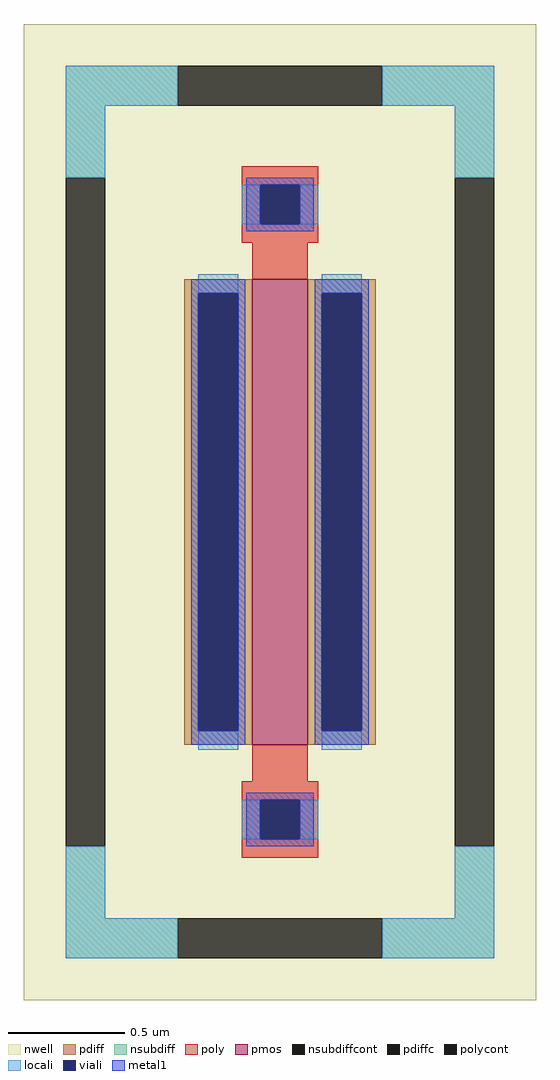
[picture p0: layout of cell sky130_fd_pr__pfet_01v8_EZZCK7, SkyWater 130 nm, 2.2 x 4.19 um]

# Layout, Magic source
magic
tech sky130A
magscale 1 2
<< nwell >>
rect -220 -419 220 419
<< pmos >>
rect -24 -200 24 200
<< pdiff >>
rect -82 188 -24 200
rect -82 -188 -70 188
rect -36 -188 -24 188
rect -82 -200 -24 -188
rect 24 188 82 200
rect 24 -188 36 188
rect 70 -188 82 188
rect 24 -200 82 -188
<< pdiffc >>
rect -70 -188 -36 188
rect 36 -188 70 188
<< nsubdiff >>
rect -184 349 -88 383
rect 88 349 184 383
rect -184 287 -150 349
rect 150 287 184 349
rect -184 -349 -150 -287
rect 150 -349 184 -287
rect -184 -383 -88 -349
rect 88 -383 184 -349
<< nsubdiffcont >>
rect -88 349 88 383
rect -184 -287 -150 287
rect 150 -287 184 287
rect -88 -383 88 -349
<< poly >>
rect -33 281 33 297
rect -33 247 -17 281
rect 17 247 33 281
rect -33 231 33 247
rect -24 200 24 231
rect -24 -231 24 -200
rect -33 -247 33 -231
rect -33 -281 -17 -247
rect 17 -281 33 -247
rect -33 -297 33 -281
<< polycont >>
rect -17 247 17 281
rect -17 -281 17 -247
<< locali >>
rect -184 349 -88 383
rect 88 349 184 383
rect -184 287 -150 349
rect 150 287 184 349
rect -33 247 -17 281
rect 17 247 33 281
rect -70 188 -36 204
rect -70 -204 -36 -188
rect 36 188 70 204
rect 36 -204 70 -188
rect -33 -281 -17 -247
rect 17 -281 33 -247
rect -184 -349 -150 -287
rect 150 -349 184 -287
rect -184 -383 -88 -349
rect 88 -383 184 -349
<< viali >>
rect -17 247 17 281
rect -70 -188 -36 188
rect 36 -188 70 188
rect -17 -281 17 -247
<< metal1 >>
rect -29 281 29 287
rect -29 247 -17 281
rect 17 247 29 281
rect -29 241 29 247
rect -76 188 -30 200
rect -76 -188 -70 188
rect -36 -188 -30 188
rect -76 -200 -30 -188
rect 30 188 76 200
rect 30 -188 36 188
rect 70 -188 76 188
rect 30 -200 76 -188
rect -29 -247 29 -241
rect -29 -281 -17 -247
rect 17 -281 29 -247
rect -29 -287 29 -281
<< properties >>
string FIXED_BBOX -167 -366 167 366
string gencell sky130_fd_pr__pfet_01v8
string library sky130
string parameters w 2 l 0.24 m 1 nf 1 diffcov 100 polycov 100 guard 1 glc 1 grc 1 gtc 1 gbc 1 tbcov 100 rlcov 100 topc 1 botc 1 poverlap 0 doverlap 1 lmin 0.15 wmin 0.42 compatible {sky130_fd_pr__pfet_01v8  sky130_fd_pr__pfet_01v8_lvt sky130_fd_pr__pfet_01v8_hvt  sky130_fd_pr__pfet_g5v0d10v5} full_metal 1 viasrc 100 viadrn 100 viagate 100 viagb 0 viagr 0 viagl 0 viagt 0
<< end >>
